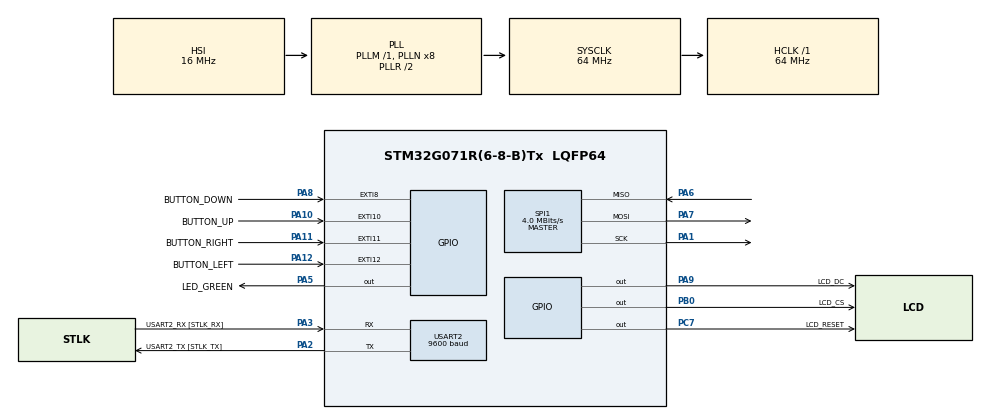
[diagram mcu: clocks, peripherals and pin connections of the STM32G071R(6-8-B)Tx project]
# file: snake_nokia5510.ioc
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Mcu.Family=STM32G0
PA2.GPIO_PuPd=GPIO_PULLUP
PA6.Mode=Full_Duplex_Master
RCC.CortexFreq_Value=64000000
SPI1.VirtualType=VM_MASTER
PA10.GPIO_PuPd=GPIO_PULLUP
PA11\ [PA9].GPIO_Label=BUTTON_RIGHT
PA12\ [PA10].GPIO_Label=BUTTON_LEFT
PA3.GPIO_PuPd=GPIO_PULLUP
PA14-BOOT0.Mode=Serial_Wire
PB0.GPIO_Label=LCD_CS
PC15-OSC32_OUT\ (PC15).Mode=LSE-External-Oscillator
PF0-OSC_IN\ (PF0).GPIO_Label=MCO
PA5.PinState=GPIO_PIN_RESET
PF0-OSC_IN\ (PF0).Signal=RCC_OSC_IN
RCC.SYSCLKSource=RCC_SYSCLKSOURCE_PLLCLK
ProjectManager.StackSize=0x400
PC14-OSC32_IN\ (PC14).Mode=LSE-External-Oscillator
PB0.PinState=GPIO_PIN_SET
SPI1.Direction=SPI_DIRECTION_2LINES
RCC.HCLKFreq_Value=64000000
PA12\ [PA10].Signal=GPXTI12
PC7.Signal=GPIO_Output
SPI1.CalculateBaudRate=4.0 MBits/s
RCC.AHBFreq_Value=64000000
PA14-BOOT0.Signal=SYS_SWCLK
RCC.HSE_VALUE=8000000
USART2.VirtualMode-Asynchronous=VM_ASYNC
NVIC.TIM2_IRQn=true\:0\:0\:false\:false\:true\:true\:true
SPI1.DataSize=SPI_DATASIZE_8BIT
PA10.GPIO_Label=BUTTON_UP
PC7.PinState=GPIO_PIN_SET
VP_SYS_VS_DBSignals.Mode=DisableDeadBatterySignals
PA8.Signal=GPXTI8
PA12\ [PA10].GPIO_ModeDefaultEXTI=GPIO_MODE_IT_FALLING
Mcu.Package=LQFP64
TIM2.Prescaler=999
PA6.Signal=SPI1_MISO
PA8.GPIO_ModeDefaultEXTI=GPIO_MODE_IT_FALLING
PA10.GPIO_ModeDefaultEXTI=GPIO_MODE_IT_FALLING
PA2.GPIO_Label=USART2_TX [STLK_TX]
PA10.Signal=GPXTI10
PA11\ [PA9].GPIO_ModeDefaultEXTI=GPIO_MODE_IT_FALLING
SPI1.BaudRatePrescaler=SPI_BAUDRATEPRESCALER_16
NVIC.EXTI4_15_IRQn=true\:0\:0\:false\:true\:true\:1\:true\:true
PA3.Signal=USART2_RX
PA14-BOOT0.GPIO_Label=TCK
PA7.Mode=Full_Duplex_Master
PA9.GPIO_Label=LCD_DC
PC13.Signal=SYS_WKUP2
RCC.EXTERNAL_CLOCK_VALUE=12288000
PC15-OSC32_OUT\ (PC15).Signal=RCC_OSC32_OUT
USART2.BaudRate=9600
PF0-OSC_IN\ (PF0).Mode=HSE-External-Clock-Source
PA13.Signal=SYS_SWDIO
PA3.Mode=Asynchronous
PA8.GPIO_Label=BUTTON_DOWN
ProjectManager.TargetToolchain=STM32CubeIDE
PA9.Signal=GPIO_Output
PA11\ [PA9].GPIO_PuPd=GPIO_PULLUP
PA1.Signal=SPI1_SCK
PA5.Signal=GPIO_Output
board=NUCLEO-G071RB
RCC.VCOOutputFreq_Value=128000000
PA1.Mode=Full_Duplex_Master
VP_TIM2_VS_ClockSourceINT.Mode=Internal
SPI1.Mode=SPI_MODE_MASTER
RCC.ADCFreq_Value=64000000
TIM2.Period=63999
PC13.Mode=SYS_WakeUp1
PA13.Mode=Serial_Wire
Mcu.Name=STM32G071R(6-8-B)Tx
PA11\ [PA9].Signal=GPXTI11
PA2.Signal=USART2_TX
PA13.GPIO_Label=TMS
PC7.GPIO_Label=LCD_RESET
RCC.SYSCLKFreq_VALUE=64000000
PA5.GPIO_Label=LED_GREEN
PC14-OSC32_IN\ (PC14).Signal=RCC_OSC32_IN
ProjectManager.HeapSize=0x200
PA12\ [PA10].GPIO_PuPd=GPIO_PULLUP
RCC.HSI_VALUE=16000000
PA8.GPIO_PuPd=GPIO_PULLUP
PA5.GPIO_Speed=GPIO_SPEED_FREQ_HIGH
PA2.Mode=Asynchronous
PB0.Signal=GPIO_Output
PA3.GPIO_Label=USART2_RX [STLK_RX]
PA7.Signal=SPI1_MOSI

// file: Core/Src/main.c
/* USER CODE BEGIN Header */
/**
  ******************************************************************************
  * @file           : main.c
  * @brief          : Main program body
  ******************************************************************************
  * @attention
  *
  * <h2><center>&copy; Copyright (c) 2024 STMicroelectronics.
  * All rights reserved.</center></h2>
  *
  * This software component is licensed by ST under BSD 3-Clause license,
  * the "License"; You may not use this file except in compliance with the
  * License. You may obtain a copy of the License at:
  *                        opensource.org/licenses/BSD-3-Clause
  *
  ******************************************************************************
  */
/* USER CODE END Header */
#include "main.h"
#include "spi.h"
#include "tim.h"
#include "usart.h"
#include "gpio.h"

/* USER CODE BEGIN Includes */
#include "string.h"
#include "stdbool.h"
#include <stdlib.h>
#include "snake.h"
#include "lcd_nokia5510.h"
#include "stdio.h"
/* USER CODE END Includes */

/* USER CODE BEGIN PTD */
//SPI_HandleTypeDef *spi = &hspi1;
//
typedef enum KEYPAD
{
	KEY_BUTTON_UP,
	KEY_BUTTON_DOWN,
	KEY_BUTTON_LEFT,
	KEY_BUTTON_RIGHT
}KEYPAD;
static volatile SnakeOrientation_Typedef key = RIGHT;
static volatile bool moveS = false;
/* USER CODE END PTD */

/* USER CODE BEGIN PD */
int _write(int file, char* pData, int len)
{
	HAL_UART_Transmit(&huart2, (uint8_t*)pData, len, HAL_MAX_DELAY);
	return len;
}

//// function settings
////typedef snake
//#define LCD_WIDTH 84
//#define LCD_HEIGHT 48
//#define LCD_BUFFER_SIZE			(LCD_WIDTH * LCD_HEIGHT/8)
//static uint8_t p2[LCD_BUFFER_SIZE];
//
//
//
//typedef struct node
//{
//	bool headFlag;
//	int coords[2];
//	enum{LEFT=20, RIGHT=30, UP=40, DOWN=60} orientation;
//	struct node *next;
//	struct node *prev;
//
//}node_Typedef;
//
//typedef struct fruit
//{
//	int coords[2];
//}fruit_Typedef;
//
//void addSnakeNode(node_Typedef *h)
//{
//	node_Typedef *node_tmp = h;
//	while(node_tmp->next != NULL)
//	{
//		node_tmp = node_tmp->next;
//	}
//	node_tmp->next->coords[0]=node_tmp->coords[0];
//	node_tmp->next->coords[1]=node_tmp->coords[1];
//	node_tmp->next->orientation = node_tmp->coords[1];;
//	node_tmp->next->headFlag=false;
//	node_tmp->next->prev = node_tmp;
//	node_tmp->next->next = NULL;
//}
//void snakeHeadInit(int x, int y, node_Typedef *n)
//{
//	n = (node_Typedef*)malloc(sizeof(node_Typedef));
//	n->coords[0]=x; n->coords[1]=y;
//	n->orientation =UP;
//	n->headFlag=true;
//	n->next = NULL;
//	n->prev = NULL;
//}
//
//void removeSnake(node_Typedef *h){};
//
//void moveSnake(node_Typedef *h)
//{
//	node_Typedef *node_tmp = h;
//	while(node_tmp->next!=NULL)
//	{
//
//	}
//}

/* USER CODE END PD */

void SystemClock_Config(void);
static void MX_NVIC_Init(void);
/* USER CODE BEGIN PFP */
void HAL_GPIO_EXTI_Falling_Callback(uint16_t GPIO_Pin)
{

	if(GPIO_Pin == BUTTON_LEFT_Pin && key!=LEFT)
	{
		key = LEFT;
//		printf("L\n\r");
	}
	else if(GPIO_Pin == BUTTON_RIGHT_Pin && key!=RIGHT)
	{
		key = RIGHT;
//		printf("R\n\r");
	}
	else if(GPIO_Pin == BUTTON_DOWN_Pin && key!=DOWN)
	{
		key = DOWN;
//		printf("D\n\r");
	}
	else if(GPIO_Pin == BUTTON_UP_Pin && key!=UP)
	{
		key =UP;
//		printf("U\n\r");
	}
//	HAL_GPIO_TogglePin(LED_GREEN_GPIO_Port, LED_GREEN_Pin);
}
void HAL_TIM_PeriodElapsedCallback(TIM_HandleTypeDef *htim)
{
  if (htim == &htim2) {
		HAL_GPIO_TogglePin(LED_GREEN_GPIO_Port, LED_GREEN_Pin);
  }
  moveS = true;
}
/* USER CODE END PFP */

int main(void)
{

  /* MCU Configuration--------------------------------------------------------*/

  /* Reset of all peripherals, Initializes the Flash interface and the Systick. */
  HAL_Init();

  /* USER CODE BEGIN Init */
node_Typedef snake;
SNAKE_GAME_snakeHeadInit(40, 25, &snake);
SNAKE_GAME_changeOrientation(&snake, RIGHT);
SNAKE_GAME_addSnakeNode(&snake, 36, 25);
SNAKE_GAME_addSnakeNode(&snake, 32, 25);
  /* USER CODE END Init */

  /* Configure the system clock */
  SystemClock_Config();

  /* Initialize all configured peripherals */
  MX_GPIO_Init();
  MX_USART2_UART_Init();
  MX_SPI1_Init();
  MX_TIM2_Init();

  /* Initialize interrupts */
  MX_NVIC_Init();
  /* USER CODE BEGIN 2 */
HAL_TIM_Base_Start_IT(&htim2);
LCD_NOKIA5510_initDefault(&hspi1);
	LCD_NOKIA5510_sendDataBuffer();
	HAL_Delay(20);

	 SnakeOrientation_Typedef tmp =key;

	LCD_NOKIA5510_drawLine2Points(20, 10, 70, 40);
	SNAKE_GAME_drawSnake(&snake);
	LCD_NOKIA5510_sendDataBuffer();
  /* USER CODE END 2 */

  /* Infinite loop */
  /* USER CODE BEGIN WHILE */
	while (1) {
//
//		LCD_NOKIA5510_drawRectangle(20, 10, 70, 10, 70, 40, 20, 40);
//		LCD_NOKIA5510_drawCircle(55, 25, 20);
//	  LCD_NOKIA5510_sendDataBuffer();
//		  for(int x = 0; x<LCD_WIDTH;x++)
//		  {
//			  for(int y = 0; y<LCD_HEIGHT; y++)
//			  {
//
//				  if(x==0||y==0||x==LCD_WIDTH-1||y==LCD_HEIGHT-1)
//				  {
//			      LCD_NOKIA5510_drawPixel(x, y);
//		  	  	  HAL_Delay(5);
//		  	  	  LCD_NOKIA5510_sendDataBuffer();
//				  HAL_Delay(5);
//				  }
//			  }
//
//		//	  lcd_nokia5110_data(sizeof(p2));
//		  };
//		  LCD_NOKIA5510_clearScreen();
//
		if(moveS)
		{
			if(key!=tmp)
			{
				SNAKE_GAME_changeOrientation(&snake, key);
				tmp = key;
			}
			SNAKE_GAME_moveSnake(&snake);
			LCD_NOKIA5510_clearScreen();
			SNAKE_GAME_drawSnake(&snake);
			LCD_NOKIA5510_sendDataBuffer();
			moveS = false;
		}
//		  if(key!=tmp)
//		  {
//			  printf("ZMIANA!\r\n");
//			  switch(key)
//			  {
//			  case KEY_BUTTON_UP:
//			  {
//				  printf("UP!\r\n");
//				break;
//
//			  }
//			  case KEY_BUTTON_DOWN:
//			  {
//				  printf("D!\r\n");
//				break;
//			  }
//			  case KEY_BUTTON_LEFT:
//			  {
//				  printf("L!\r\n");
//				break;
//			  }
//			  case KEY_BUTTON_RIGHT:
//			  {
//				  printf("R!\r\n");
//				break;
//			  }
//			  }
//			  tmp = key;
//		  }
//		  printf("Zsd\n\r");
	}

//	  for(int x = 0; x<LCD_WIDTH;x++)
//	  {
//		  for(int y = 0; y<LCD_HEIGHT; y++)
//		  {
//			  drawPixel(x, y);
//			  lcd_nokia5110_data(sizeof(p2));
//			  HAL_Delay(5);
//		  }
//
//	  }
//	  for(int x = 0; x<LCD_WIDTH;x++)
//	  {
//		  for(int y = 0; y<LCD_HEIGHT; y++)
//		  {
//			  erasePixel(x, y);
//			  lcd_nokia5110_data(sizeof(p2));
//			  HAL_Delay(5);
//		  }
//
//	  }
    /* USER CODE END WHILE */

}

void SystemClock_Config(void)
{
  RCC_OscInitTypeDef RCC_OscInitStruct = {0};
  RCC_ClkInitTypeDef RCC_ClkInitStruct = {0};
  RCC_PeriphCLKInitTypeDef PeriphClkInit = {0};

  /** Configure the main internal regulator output voltage
  */
  HAL_PWREx_ControlVoltageScaling(PWR_REGULATOR_VOLTAGE_SCALE1);
  /** Initializes the RCC Oscillators according to the specified parameters
  * in the RCC_OscInitTypeDef structure.
  */
  RCC_OscInitStruct.OscillatorType = RCC_OSCILLATORTYPE_HSI;
  RCC_OscInitStruct.HSIState = RCC_HSI_ON;
  RCC_OscInitStruct.HSIDiv = RCC_HSI_DIV1;
  RCC_OscInitStruct.HSICalibrationValue = RCC_HSICALIBRATION_DEFAULT;
  RCC_OscInitStruct.PLL.PLLState = RCC_PLL_ON;
  RCC_OscInitStruct.PLL.PLLSource = RCC_PLLSOURCE_HSI;
  RCC_OscInitStruct.PLL.PLLM = RCC_PLLM_DIV1;
  RCC_OscInitStruct.PLL.PLLN = 8;
  RCC_OscInitStruct.PLL.PLLP = RCC_PLLP_DIV2;
  RCC_OscInitStruct.PLL.PLLQ = RCC_PLLQ_DIV2;
  RCC_OscInitStruct.PLL.PLLR = RCC_PLLR_DIV2;
  if (HAL_RCC_OscConfig(&RCC_OscInitStruct) != HAL_OK)
  {
    Error_Handler();
  }
  /** Initializes the CPU, AHB and APB buses clocks
  */
  RCC_ClkInitStruct.ClockType = RCC_CLOCKTYPE_HCLK|RCC_CLOCKTYPE_SYSCLK
                              |RCC_CLOCKTYPE_PCLK1;
  RCC_ClkInitStruct.SYSCLKSource = RCC_SYSCLKSOURCE_PLLCLK;
  RCC_ClkInitStruct.AHBCLKDivider = RCC_SYSCLK_DIV1;
  RCC_ClkInitStruct.APB1CLKDivider = RCC_HCLK_DIV1;

  if (HAL_RCC_ClockConfig(&RCC_ClkInitStruct, FLASH_LATENCY_2) != HAL_OK)
  {
    Error_Handler();
  }
  /** Initializes the peripherals clocks
  */
  PeriphClkInit.PeriphClockSelection = RCC_PERIPHCLK_USART2;
  PeriphClkInit.Usart2ClockSelection = RCC_USART2CLKSOURCE_PCLK1;
  if (HAL_RCCEx_PeriphCLKConfig(&PeriphClkInit) != HAL_OK)
  {
    Error_Handler();
  }
}

/**
  * @brief NVIC Configuration.
  * @retval None
  */
static void MX_NVIC_Init(void)
{
  /* EXTI4_15_IRQn interrupt configuration */
  HAL_NVIC_SetPriority(EXTI4_15_IRQn, 0, 0);
  HAL_NVIC_EnableIRQ(EXTI4_15_IRQn);
}

void Error_Handler(void)
{
	__disable_irq();
	while (1) {
	}
}

/************************ (C) COPYRIGHT STMicroelectronics *****END OF FILE****/
